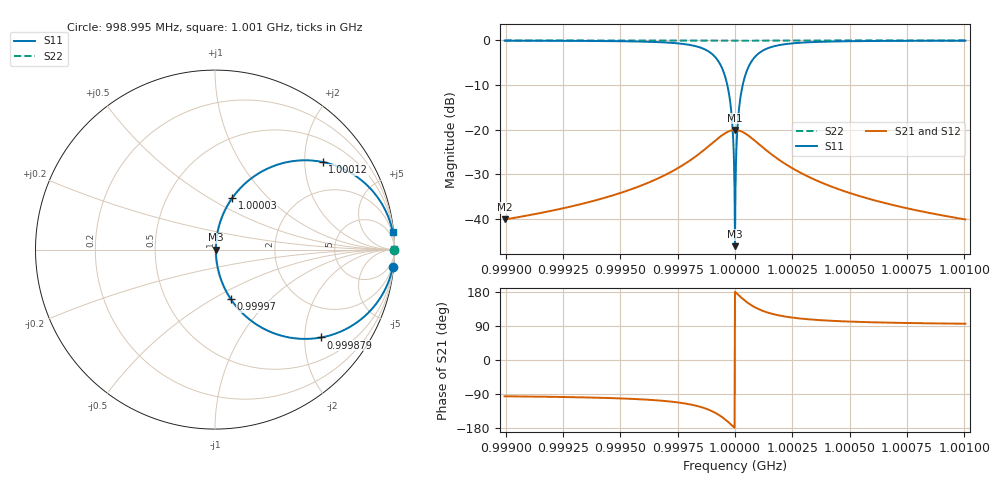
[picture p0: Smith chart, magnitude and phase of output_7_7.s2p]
! File generated for n1 = 7, n2 = 7
! b1 = 1.000000
! b2 = 0.010000
! Q0 = 10000.000000
! f0 = 1000000000.000000
! n = 1001
! rel_span = 10.000000
# Hz S RI R 50
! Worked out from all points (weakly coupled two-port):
!   1001 points, 998.995 MHz to 1.001 GHz, reference 50 ohm
!   highest |S21| = -20.04 dB at 1 GHz (marker M1); lowest = -40.1 dB at 998.995 MHz (marker M2)
!   lowest |S11| = -46.1 dB at 1 GHz (marker M3), VSWR 1.01, Z = 50.5 + j0 ohm
!   |S11| at or under -10 dB: 999.9665 MHz to 1.000034 GHz (67.02 kHz wide, 0.0067 % of centre)
!   |S22| runs from -0.1 to 0.0 dB; largest |S21 - S12| = 0
!   S11 on the Smith chart (normalised r, x): 998.995 MHz: 1, -20; 999.879 MHz: 1.01, -2.41; 999.97 MHz: 1.01, -0.60; 1.00003 GHz: 1.01, +0.64; 1.00012 GHz: 1.01, +2.45; 1.001 GHz: 1, +20
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9.98995e8  0.9902 -0.0985  -0.000984 -0.00985  -0.000984 -0.00985  0.9999 -0.000985
9.993307e8  0.9781 -0.1461  -0.00219 -0.0146  -0.00219 -0.0146  0.9998 -0.00146
9.996663e8  0.9173 -0.2747  -0.00827 -0.0275  -0.00827 -0.0275  0.9992 -0.00275
9.99795e8  0.8073 -0.3932  -0.0193 -0.0393  -0.0193 -0.0393  0.9981 -0.00393
9.998794e8  0.5922 -0.4894  -0.0408 -0.0489  -0.0408 -0.0489  0.9959 -0.00489
9.999357e8  0.2941 -0.4518  -0.0706 -0.0452  -0.0706 -0.0452  0.9929 -0.00452
9.999558e8  0.1664 -0.3668  -0.0834 -0.0367  -0.0834 -0.0367  0.9917 -0.00367
9.999698e8  0.0871 -0.2739  -0.0913 -0.0274  -0.0913 -0.0274  0.9909 -0.00274
9.999819e8  0.0362 -0.1735  -0.0964 -0.0173  -0.0964 -0.0173  0.9904 -0.00173
9.999859e8  0.0241 -0.1366  -0.0976 -0.0137  -0.0976 -0.0137  0.9902 -0.00137
9.99992e8  0.0113 -0.0791  -0.0989 -0.00791  -0.0989 -0.00791  0.9901 -0.000791
1e9  0.00498 0  -0.0995 0  -0.0995 0  0.99 0
1.000008e9  0.0113 0.0791  -0.0989 0.00791  -0.0989 0.00791  0.9901 0.000791
1.000014e9  0.0241 0.1366  -0.0976 0.0137  -0.0976 0.0137  0.9902 0.00137
1.000018e9  0.0362 0.1735  -0.0964 0.0173  -0.0964 0.0173  0.9904 0.00173
1.000032e9  0.0974 0.2888  -0.0903 0.0289  -0.0903 0.0289  0.991 0.00289
1.000066e9  0.3069 0.4574  -0.0693 0.0457  -0.0693 0.0457  0.9931 0.00457
1.000123e9  0.6001 0.4878  -0.04 0.0488  -0.04 0.0488  0.996 0.00488
1.000207e9  0.8102 0.3909  -0.019 0.0391  -0.019 0.0391  0.9981 0.00391
1.000336e9  0.9181 0.2734  -0.00819 0.0273  -0.00819 0.0273  0.9992 0.00273
1.000671e9  0.9782 0.1457  -0.00218 0.0146  -0.00218 0.0146  0.9998 0.00146
1.001005e9  0.9901 0.0986  -0.000986 0.00986  -0.000986 0.00986  0.9999 0.000986
